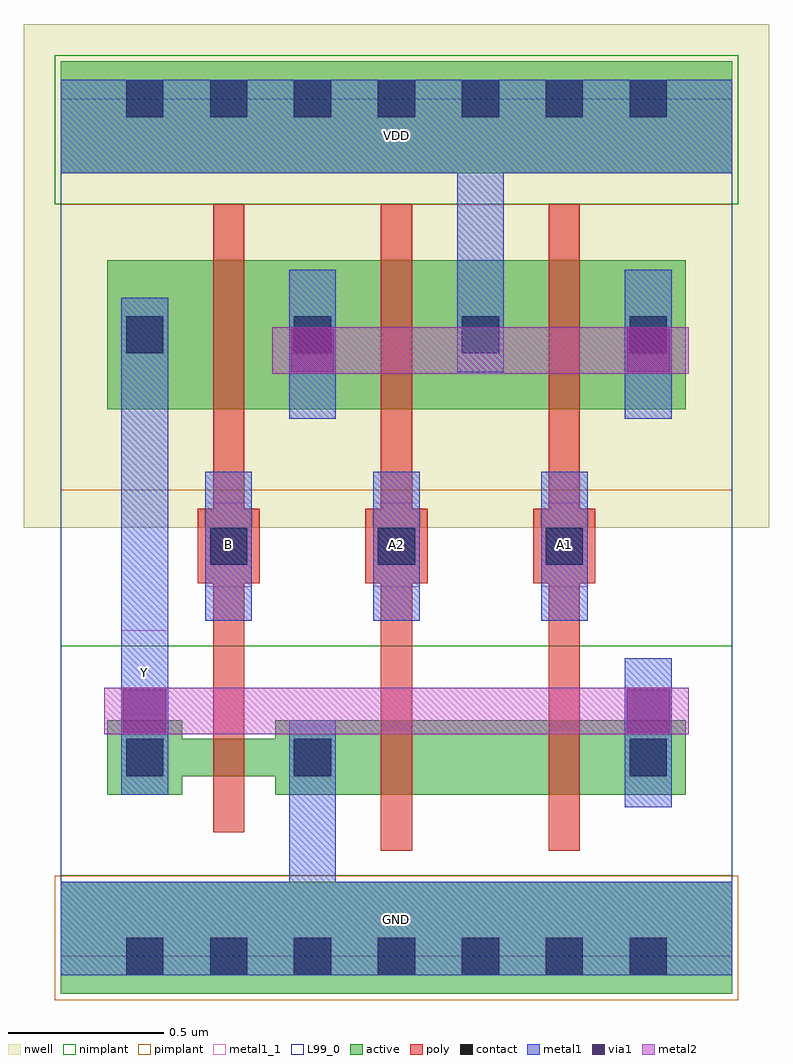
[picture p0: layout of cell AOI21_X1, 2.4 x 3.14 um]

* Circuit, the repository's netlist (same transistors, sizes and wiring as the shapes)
* TV3_CELLS/AOI21_X1: netlist from Virtuoso schematic
.SUBCKT AOI21_X1 A1 A2 B GND VDD Y
MMN2 Y B GND GND nmos1v w=120n l=100n
MMN1 n1 A2 GND GND nmos1v w=240n l=100n
MMN0 Y A1 n1 GND nmos1v w=240n l=100n
MMP2 Y B p1 VDD pmos1v w=480n l=100n
MMP1 p1 A2 VDD VDD pmos1v w=480n l=100n
MMP0 p1 A1 VDD VDD pmos1v w=480n l=100n
.ENDS AOI21_X1

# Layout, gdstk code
import gdstk
lib = gdstk.Library(unit=1e-6, precision=5e-10)
def R(c, l, rs):  # rectangles x0, y0, x1, y1
    for r in rs: c.add(gdstk.rectangle(r[:2], r[2:], *l))
def A(c, l, x, y, w, h, nx, ny, dx, dy):  # array of equal rectangles
    R(c, l, [(x+i*dx, y+j*dy, x+i*dx+w, y+j*dy+h) for i in range(nx) for j in range(ny)])
active = (1, 0)
nwell = (2, 0)
poly = (3, 0)
nimplant = (4, 0)
pimplant = (5, 0)
contact = (6, 0)
metal1 = (7, 0)
metal1_1 = (7, 1)
via1 = (8, 0)
metal2 = (9, 0)
L99_0 = (99, 0)

aoi21_x1 = lib.new_cell('AOI21_X1')
A(aoi21_x1, active, 0.15, 0.52, 0.24, 0.24, 4, 1, 0.54, 0)
A(aoi21_x1, active, 0.15, 1.76, 0.24, 0.48, 4, 1, 0.54, 0)
A(aoi21_x1, active, 0.39, 1.76, 0.3, 0.48, 3, 1, 0.54, 0)
R(aoi21_x1, active, [(0,-0.12,2.16,0.24), (0.93,0.52,1.23,0.76), (1.47,0.52,1.77,0.76), (0.39,0.58,0.69,0.7), (0,2.52,2.16,2.88)])
R(aoi21_x1, nwell, [(-0.12,1.38,2.28,3)])
A(aoi21_x1, poly, 0.44, 1.2, 0.2, 0.24, 3, 1, 0.54, 0)
R(aoi21_x1, poly, [(1.03,0.34,1.13,2.42), (1.57,0.34,1.67,2.42), (0.49,0.4,0.59,2.42)])
R(aoi21_x1, nimplant, [(0,0.26,2.16,1), (-0.02,2.42,2.18,2.9)])
R(aoi21_x1, pimplant, [(-0.02,-0.14,2.18,0.26), (0,1.5,2.16,2.42)])
A(aoi21_x1, contact, 0.21, -0.06, 0.12, 0.12, 7, 2, 0.27, 2.76)
A(aoi21_x1, contact, 0.48, 1.26, 0.12, 0.12, 3, 1, 0.54, 0)
A(aoi21_x1, contact, 0.21, 1.94, 0.12, 0.12, 4, 1, 0.54, 0)
R(aoi21_x1, contact, [(0.21,0.58,0.33,0.7), (0.75,0.58,0.87,0.7), (1.83,0.58,1.95,0.7)])
A(aoi21_x1, metal1, 0.465, 1.08, 0.15, 0.48, 3, 1, 0.54, 0)
R(aoi21_x1, metal1, [(0,-0.06,2.16,0.24), (0.735,0,0.885,0.76), (1.815,0.48,1.965,0.96), (0.195,0.52,0.345,2.12), (0.735,1.73,0.885,2.21), (1.815,1.73,1.965,2.21), (1.275,1.88,1.425,2.76), (0,2.52,2.16,2.82)])
A(aoi21_x1, metal1_1, 0.465, 1.19, 0.15, 0.27, 3, 1, 0.54, 0)
R(aoi21_x1, metal1_1, [(0,0,2.16,0.24), (0.195,0.78,0.345,1.05), (0,2.52,2.16,2.76)])
R(aoi21_x1, via1, [(0.2,0.72,0.34,0.86), (1.82,0.72,1.96,0.86), (0.74,1.88,0.88,2.02), (1.82,1.88,1.96,2.02)])
R(aoi21_x1, metal2, [(0.14,0.715,2.02,0.865), (0.68,1.875,2.02,2.025)])
R(aoi21_x1, L99_0, [(0,0,2.16,2.76)])
aoi21_x1.add(gdstk.Label('Y', (0.27,0.915), layer=7, texttype=3))
aoi21_x1.add(gdstk.Label('B', (0.54,1.325), layer=7, texttype=3))
aoi21_x1.add(gdstk.Label('A2', (1.08,1.325), layer=7, texttype=3))
aoi21_x1.add(gdstk.Label('A1', (1.62,1.325), layer=7, texttype=3))
aoi21_x1.add(gdstk.Label('VDD', (1.08,2.64), layer=7, texttype=3))
aoi21_x1.add(gdstk.Label('GND', (1.08,0.12), layer=7, texttype=3))

lib.write_gds('AOI21_X1.gds')
